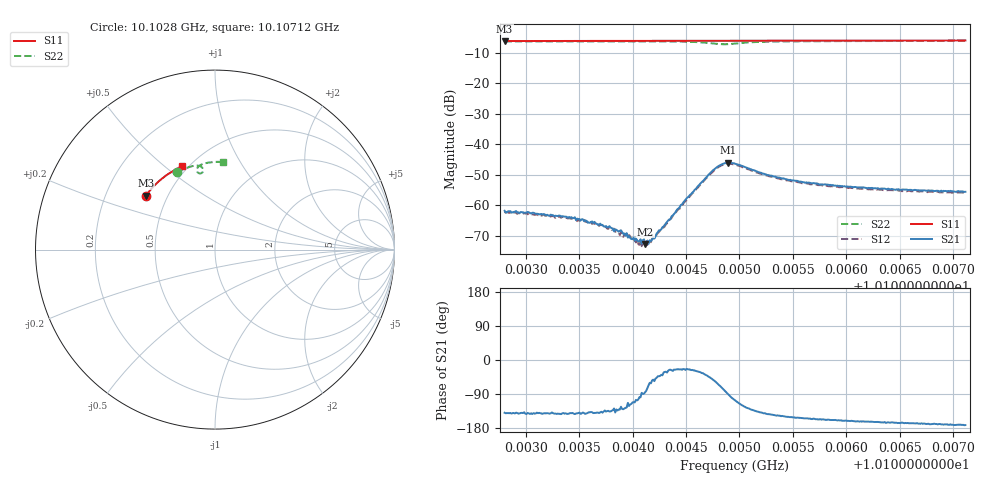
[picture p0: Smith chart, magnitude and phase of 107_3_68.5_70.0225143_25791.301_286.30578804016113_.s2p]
#  HZ  S  RI  R  50.00
! Rohde & Schwarz Vector Network Analyzer
! Rohde-Schwarz,ZNB20-2Port,1311601062101988,3.16
! Created: UTC 3/20/2024, 4:53:19 PM
! freq[Hz]  re:S11  im:S11  re:S21  im:S21  re:S12  im:S12  re:S22  im:S22
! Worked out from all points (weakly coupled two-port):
!   401 points, 10.1028 GHz to 10.10712 GHz, reference 50 ohm
!   highest |S21| = -46.09 dB at 10.10489 GHz (marker M1); lowest = -72.7 dB at 10.10412 GHz (marker M2)
!   lowest |S11| = -6.2 dB at 10.1028 GHz (marker M3), VSWR 2.90, Z = 19 + j14.9 ohm
!   |S11| at or under -10 dB: nowhere
!   |S22| runs from -7.3 to -6.2 dB; largest |S21 - S12| = 0.00049
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1.0102799e10  -0.3849 0.2996  -0.000613 -0.000529  -0.000566 -0.000538  -0.21 0.4318
1.0103328e10  -0.3654 0.3254  -0.000521 -0.000394  -0.000471 -0.000404  -0.1782 0.4473
1.0103523e10  -0.3579 0.3345  -0.000453 -0.000376  -0.000396 -0.000372  -0.1658 0.4525
1.0103803e10  -0.3465 0.3473  -0.000291 -0.000303  -0.000252 -0.0003  -0.1473 0.4591
1.01039e10  -0.3427 0.3516  -0.00023 -0.000282  -0.000178 -0.000302  -0.1406 0.4613
1.0103976e10  -0.3395 0.355  -0.000134 -0.000259  -0.000118 -0.000287  -0.1351 0.4629
1.0104008e10  -0.3381 0.3564  -0.000107 -0.000275  -6.4e-05 -0.000246  -0.1326 0.4636
1.0104073e10  -0.3354 0.3592  -4.09e-05 -0.000273  1.61e-05 -0.000256  -0.1279 0.4647
1.0104116e10  -0.3334 0.3612  1.95e-05 -0.000232  5.2e-05 -0.00024  -0.1244 0.4655
1.0104138e10  -0.3326 0.3618  7.49e-05 -0.000253  6.47e-05 -0.000214  -0.1228 0.4658
1.010417e10  -0.3313 0.3634  0.000123 -0.000227  0.000125 -0.000213  -0.1202 0.4663
1.0104192e10  -0.3302 0.3643  0.000184 -0.000234  0.000184 -0.000213  -0.1185 0.4667
1.0104246e10  -0.3279 0.3666  0.000284 -0.000265  0.000293 -0.000213  -0.114 0.4672
1.0104494e10  -0.317 0.377  0.0011 -0.00054  0.00108 -0.000394  -0.09 0.467
1.0104731e10  -0.306 0.3863  0.0023 -0.00254  0.00243 -0.00221  -0.0658 0.4451
1.0104818e10  -0.3021 0.3896  0.00166 -0.0042  0.00193 -0.00388  -0.0715 0.4286
1.0104893e10  -0.2988 0.3925  -5.18e-06 -0.00496  0.000381 -0.00476  -0.0876 0.4248
1.0104958e10  -0.2956 0.395  -0.00138 -0.00457  -0.000962 -0.0045  -0.098 0.4327
1.0105336e10  -0.2779 0.4093  -0.00243 -0.00164  -0.00217 -0.00178  -0.0794 0.472
1.0105681e10  -0.2607 0.4214  -0.00208 -0.00093  -0.00191 -0.00109  -0.0522 0.4817
1.0106404e10  -0.2234 0.4442  -0.00177 -0.000468  -0.00165 -0.000615  -0.00189 0.4884
1.0107116e10  -0.1846 0.4633  -0.00164 -0.000238  -0.00155 -0.000382  0.0452 0.4885
